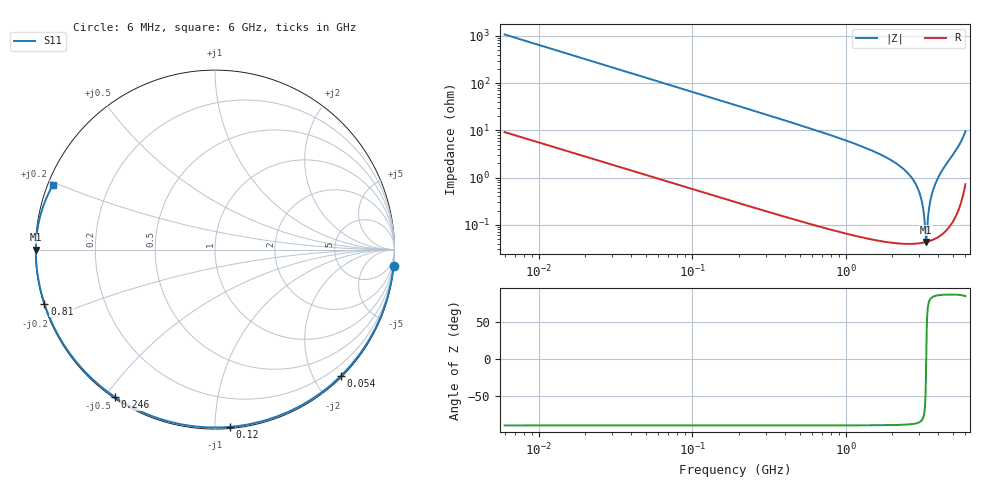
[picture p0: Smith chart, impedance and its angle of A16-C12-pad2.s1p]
! yapnr Order 0 O0-M: A16 port 2, 12 mm C-pad
! stackup OSHPARK-4L-FR408HR, nominal parameters; geometry of the OSHPARK-4L-FR408HR design
! model: 2D quasi-static RLGC (Djordjevic-Sarkar, Huray roughness, Wheeler loss); generated by python -m yapnr.rf.coupons expected --stackup OSHPARK-4L-FR408HR --upload M
! open-ended wide line + KJK open end; the line-to-pad step not modelled; 50 ohm
# GHz S DB R 50
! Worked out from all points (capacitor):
!   1000 points, 6 MHz to 6 GHz, reference 50 ohm
!   read as one part to ground: C = 24.5 pF near 36 MHz
!   lowest |Z| = 43.3 mohm at 3.33 GHz (marker M1)
!   series resonance near 3.333 GHz, so ESL is about 93 pH
!   S11 on the Smith chart (normalised r, x): 6 MHz: 0, -21; 54 MHz: 0.02, -2.40; 120 MHz: 0.01, -1.09; 246 MHz: 0.00, -0.53; 810 MHz: 0.00, -0.15; 6 GHz: 0.01, +0.19
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0.006  -0.01 -5.4
0.018  -0.02 -15.9
0.03  -0.03 -26.1
0.054  -0.05 -45.2
0.066  -0.06 -53.9
0.084  -0.07 -65.7
0.102  -0.07 -76.2
0.12  -0.08 -85.3
0.15  -0.08 -98.0
0.18  -0.07 -108.2
0.21  -0.07 -116.3
0.246  -0.06 -124.2
0.282  -0.06 -130.4
0.324  -0.05 -136.3
0.426  -0.04 -146.2
0.576  -0.03 -154.9
0.756  -0.03 -161.1
0.81  -0.03 -162.4
1.11  -0.02 -167.7
1.506  -0.02 -171.7
2.256  -0.01 -176.0
3.006  -0.01 -178.9
3.33  -0.01 -180.0
3.756  -0.02 178.6
4.506  -0.03 175.6
5.256  -0.06 170.9
5.67  -0.11 166.0
6  -0.24 158.4
